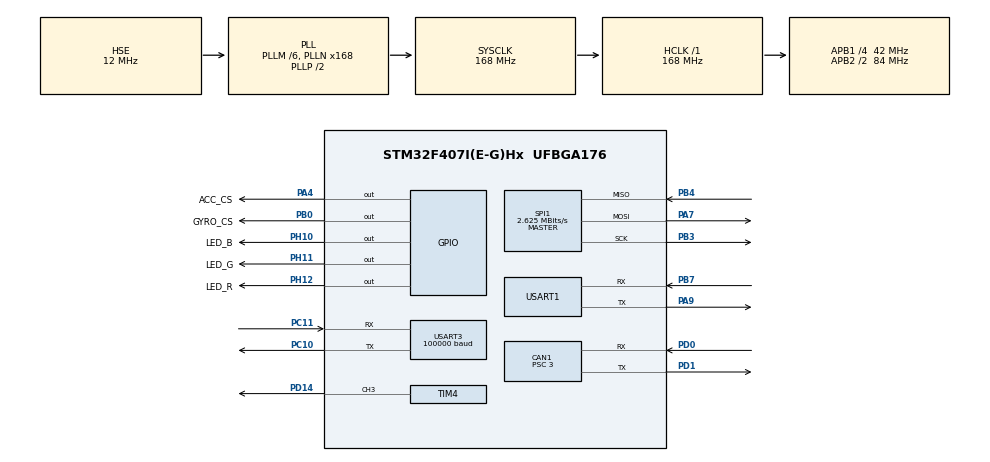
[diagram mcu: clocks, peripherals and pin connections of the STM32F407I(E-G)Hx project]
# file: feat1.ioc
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CAN1.ABOM=ENABLE
CAN1.BS1=CAN_BS1_11TQ
CAN1.BS2=CAN_BS2_2TQ
CAN1.CalculateBaudRate=1000000
CAN1.CalculateTimeBit=1000
CAN1.CalculateTimeQuantum=71.42857142857143
CAN1.Prescaler=3
Dma.Request0=USART3_RX
Dma.USART3_RX.0.Direction=DMA_PERIPH_TO_MEMORY
Dma.USART3_RX.0.FIFOMode=DMA_FIFOMODE_DISABLE
Dma.USART3_RX.0.Instance=DMA1_Stream1
Dma.USART3_RX.0.MemDataAlignment=DMA_MDATAALIGN_BYTE
Dma.USART3_RX.0.MemInc=DMA_MINC_ENABLE
Dma.USART3_RX.0.Mode=DMA_NORMAL
Dma.USART3_RX.0.PeriphDataAlignment=DMA_PDATAALIGN_BYTE
Dma.USART3_RX.0.PeriphInc=DMA_PINC_DISABLE
Dma.USART3_RX.0.Priority=DMA_PRIORITY_LOW
Mcu.Family=STM32F4
Mcu.Name=STM32F407I(E-G)Hx
Mcu.Package=UFBGA176
NVIC.CAN1_RX0_IRQn=true\:0\:0\:false\:false\:true\:true\:true\:true
NVIC.DMA1_Stream1_IRQn=true\:0\:0\:false\:false\:true\:false\:true\:true
NVIC.PriorityGroup=NVIC_PRIORITYGROUP_4
NVIC.USART1_IRQn=true\:0\:0\:false\:false\:true\:true\:true\:true
NVIC.USART3_IRQn=true\:0\:0\:false\:false\:true\:true\:true\:true
PA13.Mode=Serial_Wire
PA13.Signal=SYS_JTMS-SWDIO
PA14.Mode=Serial_Wire
PA14.Signal=SYS_JTCK-SWCLK
PA4.GPIO_Label=ACC_CS
PA4.PinState=GPIO_PIN_SET
PA4.Signal=GPIO_Output
PA7.Mode=Full_Duplex_Master
PA7.Signal=SPI1_MOSI
PA9.Mode=Asynchronous
PA9.Signal=USART1_TX
PB0.GPIO_Label=GYRO_CS
PB0.PinState=GPIO_PIN_SET
PB0.Signal=GPIO_Output
PB3.Mode=Full_Duplex_Master
PB3.Signal=SPI1_SCK
PB4.Mode=Full_Duplex_Master
PB4.Signal=SPI1_MISO
PB7.Mode=Asynchronous
PB7.Signal=USART1_RX
PC10.Mode=Asynchronous
PC10.Signal=USART3_TX
PC11.Mode=Asynchronous
PC11.Signal=USART3_RX
PD0.Mode=CAN_Activate
PD0.Signal=CAN1_RX
PD1.Mode=CAN_Activate
PD1.Signal=CAN1_TX
PD14.Signal=S_TIM4_CH3
PH0-OSC_IN.Mode=HSE-External-Oscillator
PH0-OSC_IN.Signal=RCC_OSC_IN
PH1-OSC_OUT.Mode=HSE-External-Oscillator
PH1-OSC_OUT.Signal=RCC_OSC_OUT
PH10.GPIO_Label=LED_B
PH10.Signal=GPIO_Output
PH11.GPIO_Label=LED_G
PH11.Signal=GPIO_Output
PH12.GPIO_Label=LED_R
PH12.Signal=GPIO_Output
ProjectManager.HeapSize=0x200
ProjectManager.StackSize=0x400
ProjectManager.TargetToolchain=CMake
RCC.48MHZClocksFreq_Value=84000000
RCC.AHBFreq_Value=168000000
RCC.APB1CLKDivider=RCC_HCLK_DIV4
RCC.APB1Freq_Value=42000000
RCC.APB1TimFreq_Value=84000000
RCC.APB2CLKDivider=RCC_HCLK_DIV2
RCC.APB2Freq_Value=84000000
RCC.APB2TimFreq_Value=168000000
RCC.CortexFreq_Value=168000000
RCC.HCLKFreq_Value=168000000
RCC.HSE_VALUE=12000000
RCC.HSI_VALUE=16000000
RCC.LSE_VALUE=32768
RCC.PLLM=6
RCC.PLLN=168
RCC.PLLSourceVirtual=RCC_PLLSOURCE_HSE
RCC.SYSCLKFreq_VALUE=168000000
RCC.SYSCLKSource=RCC_SYSCLKSOURCE_PLLCLK
RCC.VCOOutputFreq_Value=336000000
SH.S_TIM4_CH3.0=TIM4_CH3,PWM Generation3 CH3
SPI1.BaudRatePrescaler=SPI_BAUDRATEPRESCALER_32
SPI1.CLKPhase=SPI_PHASE_2EDGE
SPI1.CLKPolarity=SPI_POLARITY_HIGH
SPI1.CalculateBaudRate=2.625 MBits/s
SPI1.Direction=SPI_DIRECTION_2LINES
SPI1.Mode=SPI_MODE_MASTER
SPI1.VirtualType=VM_MASTER
TIM4.Channel-PWM\ Generation3\ CH3=TIM_CHANNEL_3
TIM4.Period=499
TIM4.Prescaler=83
USART1.VirtualMode=VM_ASYNC
USART3.BaudRate=100000
USART3.Mode=MODE_RX
USART3.Parity=PARITY_EVEN
USART3.VirtualMode=VM_ASYNC
USART3.WordLength=WORDLENGTH_9B
VP_TIM4_VS_ClockSourceINT.Mode=Internal
board=custom

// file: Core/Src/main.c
/* USER CODE BEGIN Header */
/**
  ******************************************************************************
  * @file           : main.c
  * @brief          : Main program body
  ******************************************************************************
  * @attention
  *
  * Copyright (c) 2026 STMicroelectronics.
  * All rights reserved.
  *
  * This software is licensed under terms that can be found in the LICENSE file
  * in the root directory of this software component.
  * If no LICENSE file comes with this software, it is provided AS-IS.
  *
  ******************************************************************************
  */
/* USER CODE END Header */
#include "main.h"
#include "can.h"
#include "dma.h"
#include "spi.h"
#include "tim.h"
#include "usart.h"
#include "gpio.h"

/* USER CODE BEGIN Includes */
#include <stdio.h>
#include <math.h>
/* USER CODE END Includes */

/* USER CODE BEGIN PD */
#define MOTOR_A_ID                 1U
#define MOTOR_B_ID                 2U

#define MOTOR_MODE_UNKNOWN         0U
#define MOTOR_MODE_VOLTAGE         1U
#define MOTOR_MODE_CURRENT         2U

// 现场确认后，再选择 VOLTAGE 或 CURRENT
#define MOTOR_CONTROL_MODE         MOTOR_MODE_UNKNOWN

#if (MOTOR_A_ID < 1U) || (MOTOR_A_ID > 7U)
#error "MOTOR_A_ID must be 1..7"
#endif

#if (MOTOR_B_ID < 1U) || (MOTOR_B_ID > 7U)
#error "MOTOR_B_ID must be 1..7"
#endif

#if MOTOR_A_ID == MOTOR_B_ID
#error "Motor A and B must have different IDs"
#endif
#define CONTROL_MODE_DISABLED      0U
#define CONTROL_MODE_LINK          1U
#define CONTROL_MODE_RESET         2U

// 0：未确认；1：右拨杆对应 rc_s1；2：对应 rc_s2
#define RC_RIGHT_SWITCH_SOURCE     0U

#if RC_RIGHT_SWITCH_SOURCE > 2U
#error "RC_RIGHT_SWITCH_SOURCE must be 0, 1 or 2"
#endif
// 待现场确认电机模式后，再逐步调试这些参数
#define MOTOR_ANGLE_KP       0.0f
#define MOTOR_SPEED_KP       0.0f
#define MOTOR_MAX_RPM        0.0f
#define MOTOR_MAX_COMMAND    0.0f
// 现场能够保证每次启动时三个箭头对齐后，才改为 1
#define MOTOR_STARTUP_ARROWS_ALIGNED    0U
/* USER CODE END PD */

/* USER CODE BEGIN PV */
// 发送期间保持内容不变
static char uart_tx_buf[768];
// DMA 将接收到的遥控器原始数据存放在这里
static uint8_t rc_rx_buf[64];

// 用于观察接收情况
static volatile uint16_t rc_rx_size = 0;
static volatile uint32_t rc_rx_count = 0;
// 四个摇杆通道，回中时接近 0
static volatile int16_t rc_ch[4] = {0};

// 两个拨杆的位置
static volatile uint8_t rc_s1 = 0;
static volatile uint8_t rc_s2 = 0;

// 用于后续判断是否持续收到有效数据
static volatile uint32_t rc_last_tick = 0;
static volatile uint8_t rc_received = 0;
// 接收出错时，由主循环负责恢复
static volatile uint8_t rc_need_restart = 0;
static uint8_t imu_ready = 0;
// 加速度，单位 m/s²
static float imu_ax = 0;
static float imu_ay = 0;
static float imu_az = 0;

// 角速度，单位 °/s
static float imu_gx = 0;
static float imu_gy = 0;
static float imu_gz = 0;
typedef struct
{
    uint16_t encoder;
    int32_t total_encoder;  // 相对首次反馈位置的累计计数
    uint8_t angle_valid;    // 连续角度是否有效       // 单圈编码器值：0～8191
    int16_t speed_rpm;      // 转速：转/分钟，有正负
    uint8_t temperature;    // 温度：℃
    uint8_t received;       // 是否曾收到有效反馈
    uint32_t last_rx_tick;  // 最近一次接收时间
    uint32_t rx_count;      // 累计接收帧数
} MotorFeedback;

// 下标直接对应电机 ID，motor_fb[0] 不使用
static volatile MotorFeedback motor_fb[8] = {0};
// 陀螺仪零偏，单位 °/s
static float gyro_bias_x = 0.0f;
static float gyro_bias_y = 0.0f;
static float gyro_bias_z = 0.0f;

// 连续采集 200 个静止样本
static uint16_t imu_cal_count = 0;
static uint8_t imu_cal_ready = 0;
static float imu_yaw_deg = 0.0f;       // 连续 yaw，单位度
static uint8_t imu_attitude_ready = 0;
static uint8_t imu_attitude_fault = 0;
// 遥控器请求的工作模式
static uint8_t control_requested_mode = CONTROL_MODE_DISABLED;

// B 相对于 A/C 板的联动比例
static float motor_b_ratio = 0.5f;

// 是否具备进入电机控制的基本条件
static uint8_t motor_control_allowed = 0U;
// 0：正常联动；1：手动转 A；2：手动转 B
static uint8_t manual_leader = 0U;
static uint8_t manual_armed = 0U;
static uint8_t manual_candidate = 0U;

static uint16_t manual_settle_count = 0U;
static uint16_t manual_candidate_count = 0U;
static uint16_t manual_release_count = 0U;

static uint8_t arrow_reference_ready = 0U;

// 箭头对齐时，电机连续角度与 IMU yaw 的差值
static float arrow_offset_a = 0.0f;
static float arrow_offset_b = 0.0f;
// 记录上一批电机报文使用的发送邮箱
static uint32_t motor_tx_mailboxes = 0U;

// 发送故障锁定，复位 C 板后清除
static uint8_t motor_tx_fault = 0U;
/* USER CODE END PV */

void SystemClock_Config(void);

/* USER CODE BEGIN 0 */
static void LED_Show(uint8_t index)
{
    // 先关闭全部 LED
    HAL_GPIO_WritePin(LED_R_GPIO_Port, LED_R_Pin, GPIO_PIN_SET);
    HAL_GPIO_WritePin(LED_G_GPIO_Port, LED_G_Pin, GPIO_PIN_SET);
    HAL_GPIO_WritePin(LED_B_GPIO_Port, LED_B_Pin, GPIO_PIN_SET);

    // 再点亮指定的 LED
    switch (index)
    {
        case 0:
            HAL_GPIO_WritePin(LED_R_GPIO_Port, LED_R_Pin,
                              GPIO_PIN_RESET);
            break;

        case 1:
            HAL_GPIO_WritePin(LED_G_GPIO_Port, LED_G_Pin,
                              GPIO_PIN_RESET);
            break;

        case 2:
            HAL_GPIO_WritePin(LED_B_GPIO_Port, LED_B_Pin,
                              GPIO_PIN_RESET);
            break;

        default:
            break;
    }
}
// is_acc：1 表示加速度计，0 表示陀螺仪
static HAL_StatusTypeDef BMI088_WriteReg(
    uint8_t is_acc, uint8_t reg, uint8_t value)
{
    uint8_t tx[2] = {reg & 0x7FU, value};

    GPIO_TypeDef *port = is_acc ? ACC_CS_GPIO_Port
                               : GYRO_CS_GPIO_Port;
    uint16_t pin = is_acc ? ACC_CS_Pin : GYRO_CS_Pin;

    HAL_GPIO_WritePin(port, pin, GPIO_PIN_RESET);

    HAL_StatusTypeDef status =
        HAL_SPI_Transmit(&hspi1, tx, sizeof(tx), 10);

    HAL_GPIO_WritePin(port, pin, GPIO_PIN_SET);

    // 留出寄存器写入间隔，仅在初始化时使用
    HAL_Delay(2);

    return status;
}
static HAL_StatusTypeDef BMI088_Init(void)
{
    // 两个传感器先都不选中
    HAL_GPIO_WritePin(ACC_CS_GPIO_Port, ACC_CS_Pin, GPIO_PIN_SET);
    HAL_GPIO_WritePin(GYRO_CS_GPIO_Port, GYRO_CS_Pin, GPIO_PIN_SET);

    HAL_Delay(50);

    // 首次空读：使加速度计进入 SPI 模式，不检查芯片 ID
    uint8_t tx[3] = {0x80, 0x00, 0x00};
    uint8_t rx[3];

    HAL_GPIO_WritePin(ACC_CS_GPIO_Port, ACC_CS_Pin, GPIO_PIN_RESET);

    HAL_StatusTypeDef status =
        HAL_SPI_TransmitReceive(&hspi1, tx, rx, sizeof(tx), 10);

    HAL_GPIO_WritePin(ACC_CS_GPIO_Port, ACC_CS_Pin, GPIO_PIN_SET);

    if (status != HAL_OK)
    {
        return status;
    }

    HAL_Delay(2);

    // 加速度计：退出挂起状态
    if (BMI088_WriteReg(1, 0x7C, 0x00) != HAL_OK)
        return HAL_ERROR;

    HAL_Delay(5);

    // 开启加速度测量
    if (BMI088_WriteReg(1, 0x7D, 0x04) != HAL_OK)
        return HAL_ERROR;

    HAL_Delay(5);

    // 加速度计：100 Hz 输出数据率
    if (BMI088_WriteReg(1, 0x40, 0xA8) != HAL_OK)
        return HAL_ERROR;

    // 加速度计量程：±6 g
    if (BMI088_WriteReg(1, 0x41, 0x01) != HAL_OK)
        return HAL_ERROR;

    // 陀螺仪：正常工作模式
    if (BMI088_WriteReg(0, 0x11, 0x00) != HAL_OK)
        return HAL_ERROR;

    HAL_Delay(30);

    // 陀螺仪量程：±2000 °/s
    if (BMI088_WriteReg(0, 0x0F, 0x00) != HAL_OK)
        return HAL_ERROR;

    // 陀螺仪：100 Hz 输出数据率，32 Hz 带宽
    if (BMI088_WriteReg(0, 0x10, 0x07) != HAL_OK)
        return HAL_ERROR;

    HAL_Delay(30);

    return HAL_OK;
}
static HAL_StatusTypeDef BMI088_ReadRaw(
    uint8_t is_acc, int16_t raw[3])
{
    // 加速度数据从 0x12 开始，陀螺仪数据从 0x02 开始
    uint8_t tx[8] = {0};
    uint8_t rx[8] = {0};

    tx[0] = (is_acc ? 0x12U : 0x02U) | 0x80U;

    // 加速度计比陀螺仪多一个无效字节，需要跳过
    uint16_t length = is_acc ? 8U : 7U;
    uint8_t offset = is_acc ? 2U : 1U;

    GPIO_TypeDef *port = is_acc ? ACC_CS_GPIO_Port
                               : GYRO_CS_GPIO_Port;
    uint16_t pin = is_acc ? ACC_CS_Pin : GYRO_CS_Pin;

    HAL_GPIO_WritePin(port, pin, GPIO_PIN_RESET);

    HAL_StatusTypeDef status =
        HAL_SPI_TransmitReceive(&hspi1, tx, rx, length, 10);

    HAL_GPIO_WritePin(port, pin, GPIO_PIN_SET);

    if (status != HAL_OK)
    {
        return status;
    }

    for (uint8_t i = 0; i < 3U; i++)
    {
        uint8_t pos = offset + 2U * i;

        // 每个轴由低字节、高字节组成一个有符号 16 位数
        uint16_t value = (uint16_t)rx[pos] |
                         ((uint16_t)rx[pos + 1U] << 8);

        raw[i] = (int16_t)value;
    }

    return HAL_OK;
}
static HAL_StatusTypeDef BMI088_ReadData(void)
{
    int16_t acc_raw[3];
    int16_t gyro_raw[3];

    if (BMI088_ReadRaw(1, acc_raw) != HAL_OK)
    {
        return HAL_ERROR;
    }

    if (BMI088_ReadRaw(0, gyro_raw) != HAL_OK)
    {
        return HAL_ERROR;
    }

    // 对应初始化设置的加速度量程 ±6 g
    const float acc_scale = 6.0f * 9.80665f / 32768.0f;

    // 对应初始化设置的陀螺仪量程 ±2000 °/s
    const float gyro_scale = 2000.0f / 32768.0f;

    // 两组读取都成功后才更新结果
    imu_ax = acc_raw[0] * acc_scale;
    imu_ay = acc_raw[1] * acc_scale;
    imu_az = acc_raw[2] * acc_scale;

    imu_gx = gyro_raw[0] * gyro_scale;
    imu_gy = gyro_raw[1] * gyro_scale;
    imu_gz = gyro_raw[2] * gyro_scale;

    return HAL_OK;
}
static void IMU_UpdateGyroCalibration(uint8_t sample_ok)
{
    static float sum_x = 0.0f;
    static float sum_y = 0.0f;
    static float sum_z = 0.0f;

    // 完成后不再自动重新校准
    if (imu_cal_ready)
    {
        return;
    }

    float acc_sq = imu_ax * imu_ax +
                   imu_ay * imu_ay +
                   imu_az * imu_az;

    // 初步静止检查：
    // 加速度合量接近重力，三个轴角速度都较小
    uint8_t stationary =
        sample_ok &&
        acc_sq > (8.8f * 8.8f) &&
        acc_sq < (10.8f * 10.8f) &&
        imu_gx > -3.0f && imu_gx < 3.0f &&
        imu_gy > -3.0f && imu_gy < 3.0f &&
        imu_gz > -3.0f && imu_gz < 3.0f;

    // 读取失败或检测到明显运动，重新累计
    if (!stationary)
    {
        sum_x = 0.0f;
        sum_y = 0.0f;
        sum_z = 0.0f;
        imu_cal_count = 0;
        return;
    }

    sum_x += imu_gx;
    sum_y += imu_gy;
    sum_z += imu_gz;
    imu_cal_count++;

    if (imu_cal_count >= 200U)
    {
        gyro_bias_x = sum_x / (float)imu_cal_count;
        gyro_bias_y = sum_y / (float)imu_cal_count;
        gyro_bias_z = sum_z / (float)imu_cal_count;

        imu_cal_ready = 1U;
    }
}
static void IMU_UpdateAttitude(uint8_t sample_ok, float dt)
{
    // 四元数：描述 C 板相对于参考坐标系的姿态
    static float q0 = 1.0f;
    static float q1 = 0.0f;
    static float q2 = 0.0f;
    static float q3 = 0.0f;
    static float last_yaw = 0.0f;

    const float deg_to_rad = 0.01745329252f;
    const float rad_to_deg = 57.29577951f;

    if (!imu_cal_ready || imu_attitude_fault)
    {
        return;
    }

    // 丢失较长时间的数据后，不继续输出看似有效的角度
    if (!sample_ok || dt <= 0.0f || dt > 0.05f)
    {
        imu_attitude_ready = 0U;
        imu_attitude_fault = 1U;
        return;
    }

    float ax = imu_ax;
    float ay = imu_ay;
    float az = imu_az;
    float acc_sq = ax * ax + ay * ay + az * az;

    if (!imu_attitude_ready)
    {
        // 用静止时的重力方向初始化倾斜姿态
        // 接近俯仰 ±90° 时，yaw 方向不适合作为联动输入
        if (acc_sq < 1.0f ||
            (ay * ay + az * az) / acc_sq < 0.01f)
        {
            imu_attitude_fault = 1U;
            return;
        }

        float roll = atan2f(ay, az);
        float pitch = atan2f(-ax, sqrtf(ay * ay + az * az));

        float cr = cosf(roll * 0.5f);
        float sr = sinf(roll * 0.5f);
        float cp = cosf(pitch * 0.5f);
        float sp = sinf(pitch * 0.5f);

        // 初始 yaw 定义为 0
        q0 = cr * cp;
        q1 = sr * cp;
        q2 = cr * sp;
        q3 = -sr * sp;

        last_yaw = atan2f(
            2.0f * (q0 * q3 + q1 * q2),
            1.0f - 2.0f * (q2 * q2 + q3 * q3)) * rad_to_deg;

        imu_yaw_deg = 0.0f;
        imu_attitude_ready = 1U;
        return;
    }

    // 减去零偏，并将 °/s 转换为 rad/s
    float gx = (imu_gx - gyro_bias_x) * deg_to_rad;
    float gy = (imu_gy - gyro_bias_y) * deg_to_rad;
    float gz = (imu_gz - gyro_bias_z) * deg_to_rad;

    // 加速度合量接近重力时，才进行倾斜修正
    if (acc_sq > 8.8f * 8.8f &&
        acc_sq < 10.8f * 10.8f)
    {
        float inv_acc = 1.0f / sqrtf(acc_sq);
        ax *= inv_acc;
        ay *= inv_acc;
        az *= inv_acc;

        // 当前姿态预测的重力方向
        float vx = 2.0f * (q1 * q3 - q0 * q2);
        float vy = 2.0f * (q0 * q1 + q2 * q3);
        float vz = q0 * q0 - q1 * q1 -
                   q2 * q2 + q3 * q3;

        // 测量方向与预测方向的叉积误差
        float ex = ay * vz - az * vy;
        float ey = az * vx - ax * vz;
        float ez = ax * vy - ay * vx;

        const float kp = 2.0f;
        gx += kp * ex;
        gy += kp * ey;
        gz += kp * ez;
    }

    // 必须先保存旧值，再同时更新四个分量
    float a = q0;
    float b = q1;
    float c = q2;
    float d = q3;
    float half_dt = 0.5f * dt;

    q0 += (-b * gx - c * gy - d * gz) * half_dt;
    q1 += ( a * gx + c * gz - d * gy) * half_dt;
    q2 += ( a * gy - b * gz + d * gx) * half_dt;
    q3 += ( a * gz + b * gy - c * gx) * half_dt;

    float norm_sq = q0 * q0 + q1 * q1 +
                    q2 * q2 + q3 * q3;

    if (!isfinite(norm_sq) || norm_sq < 0.000001f)
    {
        imu_attitude_ready = 0U;
        imu_attitude_fault = 1U;
        return;
    }

    float inv_norm = 1.0f / sqrtf(norm_sq);
    q0 *= inv_norm;
    q1 *= inv_norm;
    q2 *= inv_norm;
    q3 *= inv_norm;

    float heading_x =
        1.0f - 2.0f * (q2 * q2 + q3 * q3);
    float heading_y =
        2.0f * (q0 * q3 + q1 * q2);

    if (heading_x * heading_x +
        heading_y * heading_y < 0.01f)
    {
        imu_attitude_ready = 0U;
        imu_attitude_fault = 1U;
        return;
    }

    float yaw = atan2f(heading_y, heading_x) * rad_to_deg;
    float delta = yaw - last_yaw;

    // 处理 +180° 与 -180° 之间的跳变，累计连续角度
    if (delta > 180.0f)
    {
        delta -= 360.0f;
    }
    else if (delta < -180.0f)
    {
        delta += 360.0f;
    }

    imu_yaw_deg += delta;
    last_yaw = yaw;
}
// 把数值限制在 -limit～+limit
static float Motor_Clamp(float value, float limit)
{
    if (value > limit)
    {
        return limit;
    }

    if (value < -limit)
    {
        return -limit;
    }

    return value;
}

// 位置外环 + 速度内环，当前先使用比例控制
static int16_t Motor_PositionControl(
    float target_deg,
    float actual_deg,
    float actual_rpm,
    float angle_kp,
    float speed_kp,
    float max_rpm,
    float max_command)
{
    // 参数未设置或数据异常时，不产生驱动给定
    if (!isfinite(target_deg) ||
        !isfinite(actual_deg) ||
        !isfinite(actual_rpm) ||
        !isfinite(angle_kp) ||
        !isfinite(speed_kp) ||
        !isfinite(max_rpm) ||
        !isfinite(max_command) ||
        angle_kp <= 0.0f ||
        speed_kp <= 0.0f ||
        max_rpm <= 0.0f ||
        max_command <= 0.0f ||
        max_command > 25000.0f)
    {
        return 0;
    }

    // 外环：角度误差转换成目标转速
    float angle_error = target_deg - actual_deg;

    float target_rpm =
        Motor_Clamp(angle_kp * angle_error, max_rpm);

    // 内环：转速误差转换成控制给定值
    float speed_error = target_rpm - actual_rpm;

    float command =
        Motor_Clamp(speed_kp * speed_error, max_command);

    return (int16_t)command;
}
static HAL_StatusTypeDef Motor_SendCommandsRaw(
    int16_t command_a, int16_t command_b)
{
    uint32_t group_id[2];
    int32_t limit;

    // 未确认模式时，不发送控制报文
    if (MOTOR_CONTROL_MODE == MOTOR_MODE_VOLTAGE)
    {
        group_id[0] = 0x1FFU;  // ID 1～4
        group_id[1] = 0x2FFU;  // ID 5～7
        limit = 25000;
    }
    else if (MOTOR_CONTROL_MODE == MOTOR_MODE_CURRENT)
    {
        group_id[0] = 0x1FEU;
        group_id[1] = 0x2FEU;
        limit = 16384;
    }
    else
    {
        return HAL_ERROR;
    }

    uint8_t data[2][8] = {{0}};
    uint8_t group_used[2] = {0};
    const uint8_t ids[2] = {MOTOR_A_ID, MOTOR_B_ID};
    int32_t commands[2] = {command_a, command_b};

    for (uint8_t i = 0; i < 2U; i++)
    {
        // 限制在协议允许的范围内
        if (commands[i] > limit)
        {
            commands[i] = limit;
        }
        else if (commands[i] < -limit)
        {
            commands[i] = -limit;
        }

        uint8_t group = (uint8_t)((ids[i] - 1U) / 4U);
        uint8_t slot = (uint8_t)((ids[i] - 1U) % 4U);
        uint8_t offset = (uint8_t)(slot * 2U);

        uint16_t value = (uint16_t)(int16_t)commands[i];

        data[group][offset] = (uint8_t)(value >> 8);
        data[group][offset + 1U] = (uint8_t)value;
        group_used[group] = 1U;
    }

    uint32_t needed =
        (uint32_t)group_used[0] + (uint32_t)group_used[1];

    if (HAL_CAN_GetTxMailboxesFreeLevel(&hcan1) < needed)
    {
        return HAL_BUSY;
    }

    CAN_TxHeaderTypeDef header = {0};
    header.IDE = CAN_ID_STD;
    header.RTR = CAN_RTR_DATA;
    header.DLC = 8U;
    header.TransmitGlobalTime = DISABLE;

    for (uint8_t group = 0; group < 2U; group++)
    {
        if (!group_used[group])
        {
            continue;
        }

        header.StdId = group_id[group];
        uint32_t mailbox;

        HAL_StatusTypeDef status = HAL_CAN_AddTxMessage(
            &hcan1, &header, data[group], &mailbox);

        if (status != HAL_OK)
        {
            return status;
        }
        motor_tx_mailboxes |= mailbox;
    }

    return HAL_OK;
}
static HAL_StatusTypeDef Motor_SendCommands(
    int16_t command_a, int16_t command_b)
{
    // 模式未确认，不发送，也不因此记录发送故障
    if (MOTOR_CONTROL_MODE != MOTOR_MODE_VOLTAGE &&
        MOTOR_CONTROL_MODE != MOTOR_MODE_CURRENT)
    {
        return HAL_ERROR;
    }

    // 检查上一批发送
    if (motor_tx_mailboxes != 0U)
    {
        if (HAL_CAN_IsTxMessagePending(&hcan1, motor_tx_mailboxes))
        {
            // 到下一个控制周期仍未完成：
            // 锁定故障并请求撤销旧报文
            motor_tx_fault = 1U;
            (void)HAL_CAN_AbortTxRequest(&hcan1, motor_tx_mailboxes);

            // 撤销不是瞬间完成，下一周期继续检查
            return HAL_BUSY;
        }

        const uint32_t ok_flags[3] = {
            CAN_FLAG_TXOK0, CAN_FLAG_TXOK1, CAN_FLAG_TXOK2
        };

        const uint32_t complete_flags[3] = {
            CAN_FLAG_RQCP0, CAN_FLAG_RQCP1, CAN_FLAG_RQCP2
        };

        for (uint8_t i = 0; i < 3U; i++)
        {
            if ((motor_tx_mailboxes & (1UL << i)) != 0U)
            {
                // 不再等待发送，不代表一定发送成功
                if (!__HAL_CAN_GET_FLAG(&hcan1, ok_flags[i]))
                {
                    motor_tx_fault = 1U;
                }

                __HAL_CAN_CLEAR_FLAG(&hcan1, complete_flags[i]);
            }
        }

        motor_tx_mailboxes = 0U;
    }

    // 一旦发生故障，之后只尝试发送零给定
    if (motor_tx_fault)
    {
        command_a = 0;
        command_b = 0;
    }

    HAL_StatusTypeDef status =
        Motor_SendCommandsRaw(command_a, command_b);

    if (status != HAL_OK)
    {
        motor_tx_fault = 1U;

        // 若只成功加入了部分报文，也撤销这些发送
        if (motor_tx_mailboxes != 0U)
        {
            (void)HAL_CAN_AbortTxRequest(
                &hcan1, motor_tx_mailboxes);
        }
    }

    return status;
}
static void Control_UpdateRequest(void)
{
    uint8_t s1, s2, received;
    uint32_t rc_tick;
    MotorFeedback motor_a;
    MotorFeedback motor_b;

    // 一次性复制中断更新的数据
    uint32_t saved_irq = __get_PRIMASK();
    __disable_irq();

    s1 = rc_s1;
    s2 = rc_s2;
    received = rc_received;
    rc_tick = rc_last_tick;
    motor_a = motor_fb[MOTOR_A_ID];
    motor_b = motor_fb[MOTOR_B_ID];

    __set_PRIMASK(saved_irq);

    uint32_t now = HAL_GetTick();

    // 默认失能，只有通过检查后才允许控制
    control_requested_mode = CONTROL_MODE_DISABLED;
    motor_control_allowed = 0U;

    if (!received || (uint32_t)(now - rc_tick) >= 100U)
    {
        return;
    }

    uint8_t right_switch;
    uint8_t left_switch;

    if (RC_RIGHT_SWITCH_SOURCE == 1U)
    {
        right_switch = s1;
        left_switch = s2;
    }
    else if (RC_RIGHT_SWITCH_SOURCE == 2U)
    {
        right_switch = s2;
        left_switch = s1;
    }
    else
    {
        // 尚未确认左右拨杆对应关系
        return;
    }

    switch (left_switch)
    {
        case 2U: motor_b_ratio = 0.5f;  break; // 下
        case 3U: motor_b_ratio = -1.0f; break; // 中
        case 1U: motor_b_ratio = 3.0f;  break; // 上
        default: return;
    }

    switch (right_switch)
    {
        case 2U:
            return; // 下档：保持失能

        case 3U:
            control_requested_mode = CONTROL_MODE_LINK;
            break;

        case 1U:
            control_requested_mode = CONTROL_MODE_RESET;
            break;

        default:
            return;
    }

    // 控制模式必须已经确认
    if (MOTOR_CONTROL_MODE != MOTOR_MODE_VOLTAGE &&
        MOTOR_CONTROL_MODE != MOTOR_MODE_CURRENT)
    {
        return;
    }

    // 姿态必须有效
    if (!imu_attitude_ready || imu_attitude_fault)
    {
        return;
    }

    // 两台电机的反馈和连续角度都必须有效
    if (!motor_a.received || !motor_b.received ||
        !motor_a.angle_valid || !motor_b.angle_valid ||
        (uint32_t)(now - motor_a.last_rx_tick) >= 50U ||
        (uint32_t)(now - motor_b.last_rx_tick) >= 50U)
    {
        return;
    }
    if (motor_tx_fault)
{
    return;
}
    motor_control_allowed = 1U;
}
// leader：1 表示手动转 A，2 表示手动转 B
// 只更新联动参考，不修改 IMU 测得的 yaw
static void Link_UpdateReference(
    uint8_t leader,
    float yaw,
    float actual_a,
    float actual_b,
    float reference_a,
    float reference_b,
    float ratio,
    float *reference_yaw)
{
    if (reference_yaw == NULL ||
        !isfinite(ratio) ||
        fabsf(ratio) < 0.001f)
    {
        return;
    }

    float yaw_change = yaw - *reference_yaw;
    float phase_change;

    if (leader == 1U)
    {
        float target_a = reference_a + yaw_change;
        phase_change = actual_a - target_a;
    }
    else if (leader == 2U)
    {
        float target_b = reference_b + ratio * yaw_change;
        phase_change = (actual_b - target_b) / ratio;
    }
    else
    {
        return;
    }

    if (isfinite(phase_change))
    {
        *reference_yaw -= phase_change;
    }
}
static void Link_ManualReset(void)
{
    manual_leader = 0U;
    manual_armed = 0U;
    manual_candidate = 0U;
    manual_settle_count = 0U;
    manual_candidate_count = 0U;
    manual_release_count = 0U;
}

static uint8_t Link_ManualStep(
    float actual_a,
    float actual_b,
    float rpm_a,
    float rpm_b,
    float reference_a,
    float reference_b,
    float ratio,
    float *reference_yaw)
{
    // 初始调试阈值，后续需要实物验证和调整
    const float settled_deg = 1.0f;
    const float takeover_deg = 3.0f;
    const float stopped_rpm = 1.0f;

    uint8_t board_still =
        fabsf(imu_gx - gyro_bias_x) < 1.0f &&
        fabsf(imu_gy - gyro_bias_y) < 1.0f &&
        fabsf(imu_gz - gyro_bias_z) < 1.0f;

    // C 板转动时，回到 C 板作为输入的联动
    if (!board_still)
    {
        Link_ManualReset();
        return 0U;
    }

    float yaw_change = imu_yaw_deg - *reference_yaw;
    float target_a = reference_a + yaw_change;
    float target_b = reference_b + ratio * yaw_change;

    float error_a = actual_a - target_a;
    float error_b = actual_b - target_b;

    // 已进入手动接管
    if (manual_leader != 0U)
    {
        Link_UpdateReference(
            manual_leader, imu_yaw_deg,
            actual_a, actual_b,
            reference_a, reference_b,
            ratio, reference_yaw);

        // 更新参考后，重新计算另一台电机的目标
        yaw_change = imu_yaw_deg - *reference_yaw;
        target_a = reference_a + yaw_change;
        target_b = reference_b + ratio * yaw_change;

        uint8_t follower_arrived =
            (manual_leader == 1U) ?
            (fabsf(actual_b - target_b) < settled_deg) :
            (fabsf(actual_a - target_a) < settled_deg);

        uint8_t both_stopped =
            fabsf(rpm_a) < stopped_rpm &&
            fabsf(rpm_b) < stopped_rpm;

        if (both_stopped && follower_arrived)
        {
            manual_release_count++;
        }
        else
        {
            manual_release_count = 0U;
        }

        // 约 300 ms 停稳后，保持更新后的目标位置
        if (manual_release_count >= 30U)
        {
            manual_leader = 0U;
            manual_candidate = 0U;
            manual_candidate_count = 0U;
            manual_release_count = 0U;
            manual_armed = 1U;
        }

        return manual_leader;
    }

    // 正常跟随完成后，才允许判断手动输入
    if (!manual_armed)
    {
        if (fabsf(error_a) < settled_deg &&
            fabsf(error_b) < settled_deg &&
            fabsf(rpm_a) < stopped_rpm &&
            fabsf(rpm_b) < stopped_rpm)
        {
            manual_settle_count++;
        }
        else
        {
            manual_settle_count = 0U;
        }

        if (manual_settle_count >= 25U)
        {
            manual_armed = 1U;
        }

        return 0U;
    }

    // 只有一台明显偏离、另一台仍在目标附近时，才建立候选
    uint8_t candidate = 0U;

    if (fabsf(error_a) > takeover_deg &&
        fabsf(error_b) < settled_deg)
    {
        candidate = 1U;
    }
    else if (fabsf(error_b) > takeover_deg &&
             fabsf(error_a) < settled_deg)
    {
        candidate = 2U;
    }

    if (candidate == 0U)
    {
        manual_candidate = 0U;
        manual_candidate_count = 0U;
        return 0U;
    }

    if (candidate != manual_candidate)
    {
        manual_candidate = candidate;
        manual_candidate_count = 1U;
    }
    else
    {
        manual_candidate_count++;
    }

    // 持续约 100 ms 后进入手动接管
    if (manual_candidate_count >= 10U)
    {
        manual_leader = candidate;
        manual_release_count = 0U;

        Link_UpdateReference(
            manual_leader, imu_yaw_deg,
            actual_a, actual_b,
            reference_a, reference_b,
            ratio, reference_yaw);
    }

    return manual_leader;
}
// 每次启动只记录一次箭头对齐参考
static void Motor_CaptureArrowReference(void)
{
    if (!MOTOR_STARTUP_ARROWS_ALIGNED ||
        arrow_reference_ready ||
        !imu_attitude_ready ||
        imu_attitude_fault)
    {
        return;
    }

    MotorFeedback a;
    MotorFeedback b;

    uint32_t saved_irq = __get_PRIMASK();
    __disable_irq();
    a = motor_fb[MOTOR_A_ID];
    b = motor_fb[MOTOR_B_ID];
    __set_PRIMASK(saved_irq);

    uint32_t now = HAL_GetTick();

    if (!a.received || !b.received ||
        !a.angle_valid || !b.angle_valid ||
        (uint32_t)(now - a.last_rx_tick) >= 50U ||
        (uint32_t)(now - b.last_rx_tick) >= 50U)
    {
        return;
    }

    float angle_a =
        (float)a.total_encoder * (360.0f / 8192.0f);
    float angle_b =
        (float)b.total_encoder * (360.0f / 8192.0f);

    arrow_offset_a = angle_a - imu_yaw_deg;
    arrow_offset_b = angle_b - imu_yaw_deg;

    arrow_reference_ready = 1U;
}

// 返回 -180°～180° 范围内的等效角度差
static float Motor_Wrap180(float angle)
{
    float result = fmodf(angle + 180.0f, 360.0f);

    if (result < 0.0f)
    {
        result += 360.0f;
    }

    return result - 180.0f;
}
static void Motor_ControlTick(void)
{
    static uint8_t link_started = 0U;
    static float reference_yaw = 0.0f;
    static float reference_a = 0.0f;
    static float reference_b = 0.0f;
    static float previous_ratio = 0.0f;
    Motor_CaptureArrowReference();

    // 允许中档联动和上档复位，其余情况发送零给定
    // 其他模式、状态异常或参数未设置时，发送零给定
    if (!motor_control_allowed ||
    (control_requested_mode != CONTROL_MODE_LINK &&
     control_requested_mode != CONTROL_MODE_RESET) ||
        MOTOR_ANGLE_KP <= 0.0f ||
        MOTOR_SPEED_KP <= 0.0f ||
        MOTOR_MAX_RPM <= 0.0f ||
        MOTOR_MAX_COMMAND <= 0.0f)
    {
        link_started = 0U;
        (void)Motor_SendCommands(0, 0);
        return;
    }

    MotorFeedback motor_a;
    MotorFeedback motor_b;

    uint32_t saved_irq = __get_PRIMASK();
    __disable_irq();
    motor_a = motor_fb[MOTOR_A_ID];
    motor_b = motor_fb[MOTOR_B_ID];
    __set_PRIMASK(saved_irq);

    uint32_t now = HAL_GetTick();

    // 对本次使用的反馈再检查一次
    if (!motor_a.received || !motor_b.received ||
        !motor_a.angle_valid || !motor_b.angle_valid ||
        (uint32_t)(now - motor_a.last_rx_tick) >= 50U ||
        (uint32_t)(now - motor_b.last_rx_tick) >= 50U)
    {
        link_started = 0U;
        (void)Motor_SendCommands(0, 0);
        return;
    }

    float actual_a =
        (float)motor_a.total_encoder * (360.0f / 8192.0f);

    float actual_b =
        (float)motor_b.total_encoder * (360.0f / 8192.0f);
        if (control_requested_mode == CONTROL_MODE_RESET)
{
    // 退出中档联动状态，回到中档时重新建立联动参考
    link_started = 0U;
    Link_ManualReset();

    if (!arrow_reference_ready)
    {
        (void)Motor_SendCommands(0, 0);
        return;
    }

    // 箭头对齐只要求方向相同，选择距离最近的等效位置
    float target_a = actual_a + Motor_Wrap180(
        imu_yaw_deg + arrow_offset_a - actual_a);

    float target_b = actual_b + Motor_Wrap180(
        imu_yaw_deg + arrow_offset_b - actual_b);

    int16_t command_a = Motor_PositionControl(
        target_a,
        actual_a,
        (float)motor_a.speed_rpm,
        MOTOR_ANGLE_KP,
        MOTOR_SPEED_KP,
        MOTOR_MAX_RPM,
        MOTOR_MAX_COMMAND);

    int16_t command_b = Motor_PositionControl(
        target_b,
        actual_b,
        (float)motor_b.speed_rpm,
        MOTOR_ANGLE_KP,
        MOTOR_SPEED_KP,
        MOTOR_MAX_RPM,
        MOTOR_MAX_COMMAND);

    (void)Motor_SendCommands(command_a, command_b);
    return;
}

    // 刚进入联动，或切换比例时，从当前位置建立参考
    // 避免直接套用上一次模式留下的目标角度
    if (!link_started || motor_b_ratio != previous_ratio)
    {
        Link_ManualReset();
        reference_yaw = imu_yaw_deg;
        reference_a = actual_a;
        reference_b = actual_b;
        previous_ratio = motor_b_ratio;
        link_started = 1U;

        (void)Motor_SendCommands(0, 0);
        return;
    }

    uint8_t manual_source = Link_ManualStep(
    actual_a,
    actual_b,
    (float)motor_a.speed_rpm,
    (float)motor_b.speed_rpm,
    reference_a,
    reference_b,
    motor_b_ratio,
    &reference_yaw);
    float yaw_change = imu_yaw_deg - reference_yaw;

    float target_a = reference_a + yaw_change;
    float target_b = reference_b + motor_b_ratio * yaw_change;

    int16_t command_a = Motor_PositionControl(
        target_a,
        actual_a,
        (float)motor_a.speed_rpm,
        MOTOR_ANGLE_KP,
        MOTOR_SPEED_KP,
        MOTOR_MAX_RPM,
        MOTOR_MAX_COMMAND);

    int16_t command_b = Motor_PositionControl(
        target_b,
        actual_b,
        (float)motor_b.speed_rpm,
        MOTOR_ANGLE_KP,
        MOTOR_SPEED_KP,
        MOTOR_MAX_RPM,
        MOTOR_MAX_COMMAND);

        // 被手动转动的一台不执行位置回拉，另一台继续跟随
if (manual_source == 1U)
{
    command_a = 0;
}
else if (manual_source == 2U)
{
    command_b = 0;
}
    if (Motor_SendCommands(command_a, command_b) != HAL_OK)
    {
        // 本次发送未成功进入邮箱，下次重新建立参考
        link_started = 0U;
    }
}
/* USER CODE END 0 */

int main(void)
{

  /* MCU Configuration--------------------------------------------------------*/

  /* Reset of all peripherals, Initializes the Flash interface and the Systick. */
  HAL_Init();

  /* Configure the system clock */
  SystemClock_Config();

  /* Initialize all configured peripherals */
  MX_GPIO_Init();
  MX_DMA_Init();
  MX_TIM4_Init();
  MX_USART1_UART_Init();
  MX_USART3_UART_Init();
  MX_SPI1_Init();
  MX_CAN1_Init();
  /* USER CODE BEGIN 2 */
if (CAN1_StartReceive() != HAL_OK)
{
    Error_Handler();
}
if (HAL_CAN_ActivateNotification(
        &hcan1, CAN_IT_RX_FIFO0_MSG_PENDING) != HAL_OK)
{
    Error_Handler();
}
imu_ready = (BMI088_Init() == HAL_OK);
uint8_t led_index = 0;                 // 0 红，1 绿，2 蓝

LED_Show(led_index);                    // 上电先亮红灯
uint32_t led_last_tick = HAL_GetTick();  // 记录开始时间
// 蜂鸣器初始化并启动 PWM
if (HAL_TIM_PWM_Start(&htim4, TIM_CHANNEL_3) != HAL_OK)
{
    Error_Handler();
}

// 设置 50% 占空比，开始发声
__HAL_TIM_SET_COMPARE(&htim4, TIM_CHANNEL_3, 250);

uint32_t buzzer_start_tick = HAL_GetTick();
uint8_t buzzer_active = 1;
uint32_t uart_last_tick = HAL_GetTick();
uint32_t motor_last_tick = HAL_GetTick();
uint32_t imu_last_tick = HAL_GetTick();
uint8_t imu_sample_ok = 0;

// 首次启动接收；失败时交给主循环恢复
if (HAL_UARTEx_ReceiveToIdle_DMA(&huart3,
                               rc_rx_buf,
                               sizeof(rc_rx_buf)) == HAL_OK)
{
    __HAL_DMA_DISABLE_IT(huart3.hdmarx, DMA_IT_HT);
}
else
{
    rc_need_restart = 1;
}
  /* USER CODE END 2 */

  /* Infinite loop */
  while (1)
  {

    /* USER CODE BEGIN 3 */
    uint32_t now = HAL_GetTick();
    // 出错后清理当前接收，随后重新启动
if (rc_need_restart)
{
    rc_need_restart = 0;

    if (HAL_UART_AbortReceive(&huart3) != HAL_OK)
    {
        rc_need_restart = 1;
    }
}

// 正常接收时不会进入这里；也用于重试启动失败的情况
if (!rc_need_restart)
{
    uint32_t irq_state = __get_PRIMASK();
    __disable_irq();

    if (huart3.RxState == HAL_UART_STATE_READY)
    {
        if (HAL_UARTEx_ReceiveToIdle_DMA(
                &huart3, rc_rx_buf, sizeof(rc_rx_buf)) == HAL_OK)
        {
            __HAL_DMA_DISABLE_IT(huart3.hdmarx, DMA_IT_HT);
        }
    }

    __set_PRIMASK(irq_state);
}

// LED：每隔 300 毫秒换一个灯
if ((uint32_t)(now - led_last_tick) >= 300U)
{
    led_last_tick = now;

    led_index++;
    if (led_index >= 3U)
    {
        led_index = 0;
    }

    LED_Show(led_index);
}

// 蜂鸣器：启动响约 200 毫秒后静音
if (buzzer_active &&
    (uint32_t)(now - buzzer_start_tick) >= 200U)
{
    __HAL_TIM_SET_COMPARE(&htim4, TIM_CHANNEL_3, 0);
    buzzer_active = 0;
}
// IMU：每隔约 10 ms 采样、校准并更新姿态
uint32_t imu_now = HAL_GetTick();

if ((uint32_t)(imu_now - imu_last_tick) >= 10U)
{
    // 根据实际采样间隔计算 dt，单位秒
    float imu_dt =
        (float)(uint32_t)(imu_now - imu_last_tick) * 0.001f;

    imu_last_tick = imu_now;
    imu_sample_ok = 0U;

    if (imu_ready)
    {
        imu_sample_ok = (BMI088_ReadData() == HAL_OK);
    }

    IMU_UpdateGyroCalibration(imu_sample_ok);
    IMU_UpdateAttitude(imu_sample_ok, imu_dt);
}
Control_UpdateRequest();
// 每隔约 10 ms 执行一次电机控制
uint32_t motor_now = HAL_GetTick();

if ((uint32_t)(motor_now - motor_last_tick) >= 10U)
{
    motor_last_tick = motor_now;
    Motor_ControlTick();
}
// 每隔约 100 ms 发送最新的 IMU、遥控器和电机状态
if ((uint32_t)(HAL_GetTick() - uart_last_tick) >= 100U &&
    huart1.gState == HAL_UART_STATE_READY)
{
    uart_last_tick = HAL_GetTick();

// 使用独立采样任务的最新读取结果
uint8_t imu_read_ok = imu_sample_ok;
    // 复制遥控器数据
    int16_t ch[4];
    uint8_t s1, s2, received;
    uint32_t last_tick;

    uint32_t irq_state = __get_PRIMASK();
    __disable_irq();

    for (uint8_t i = 0; i < 4U; i++)
    {
        ch[i] = rc_ch[i];
    }

    s1 = rc_s1;
    s2 = rc_s2;
    received = rc_received;
    last_tick = rc_last_tick;

    __set_PRIMASK(irq_state);

    uint8_t online = received &&
        (uint32_t)(HAL_GetTick() - last_tick) < 100U;

    // 断联时不显示旧的遥控器数值
    if (!online)
    {
        for (uint8_t i = 0; i < 4U; i++)
        {
            ch[i] = 0;
        }

        s1 = 0;
        s2 = 0;
    }

    int len;
    const char *att_state =
    imu_attitude_fault ? "ERR" :
    (imu_attitude_ready ? "OK" : "CAL");

int32_t yaw_mdeg = (int32_t)(imu_yaw_deg * 1000.0f);

    if (imu_read_ok)
    {
        // 乘 1000 后按整数输出，避免依赖 printf 浮点支持
        int32_t ax = (int32_t)(imu_ax * 1000.0f);
        int32_t ay = (int32_t)(imu_ay * 1000.0f);
        int32_t az = (int32_t)(imu_az * 1000.0f);

        int32_t gx = (int32_t)(imu_gx * 1000.0f);
        int32_t gy = (int32_t)(imu_gy * 1000.0f);
        int32_t gz = (int32_t)(imu_gz * 1000.0f);

        len = snprintf(
            uart_tx_buf, sizeof(uart_tx_buf),
           "ATT=%s YAW[mdeg]=%ld CAL=%u/200 "
           "ACC[mm/s2]=%ld,%ld,%ld GYR[mdeg/s]=%ld,%ld,%ld "
           "RC=%s CH=%d,%d,%d,%d SW=%u,%u\r\n",
           att_state,
           (long)yaw_mdeg,
           (unsigned)imu_cal_count,
            (long)ax, (long)ay, (long)az,
            (long)gx, (long)gy, (long)gz,
            online ? "ON" : "OFF",
            (int)ch[0], (int)ch[1], (int)ch[2], (int)ch[3],
            (unsigned)s1, (unsigned)s2);
    }
    else
    {
        len = snprintf(
            uart_tx_buf, sizeof(uart_tx_buf),
            "IMU=ERROR RC=%s CH=%d,%d,%d,%d SW=%u,%u\r\n",
            online ? "ON" : "OFF",
            (int)ch[0], (int)ch[1], (int)ch[2], (int)ch[3],
            (unsigned)s1, (unsigned)s2);
    }

    if (len > 0 && (size_t)len < sizeof(uart_tx_buf))
{
    size_t used = (size_t)len;
    uint8_t format_ok = 1U;

    // 暂时显示全部 7 个可能的 ID，便于现场确认电机编号
    for (uint8_t id = 1; id <= 7U; id++)
    {
        MotorFeedback fb;

        // 短暂关闭中断，取得同一帧的完整反馈
        uint32_t saved_irq = __get_PRIMASK();
        __disable_irq();
        fb = motor_fb[id];
        __set_PRIMASK(saved_irq);

        uint8_t motor_online =
            fb.received &&
            (uint32_t)(HAL_GetTick() - fb.last_rx_tick) < 100U;

        int added;

        if (motor_online)
{
    added = snprintf(
        uart_tx_buf + used,
        sizeof(uart_tx_buf) - used,
        "M%u=ON ENC=%u POS=%s CNT=%ld RPM=%d T=%u N=%lu\r\n",
        (unsigned)id,
        (unsigned)fb.encoder,
        fb.angle_valid ? "OK" : "ERR",
        (long)fb.total_encoder,
        (int)fb.speed_rpm,
        (unsigned)fb.temperature,
        (unsigned long)fb.rx_count);
}
        else
        {
            // 离线时不把旧角度和转速当成当前数据输出
            added = snprintf(
                uart_tx_buf + used,
                sizeof(uart_tx_buf) - used,
                "M%u=OFF N=%lu\r\n",
                (unsigned)id,
                (unsigned long)fb.rx_count);
        }

        // 检查格式化错误和缓冲区不足
        if (added < 0 ||
            (size_t)added >= sizeof(uart_tx_buf) - used)
        {
            format_ok = 0U;
            break;
        }

        used += (size_t)added;
    }

    // IMU、遥控器、电机数据合并后只发送一次
    if (format_ok)
    {
        HAL_UART_Transmit_IT(
            &huart1,
            (uint8_t *)uart_tx_buf,
            (uint16_t)used);
    }
}
}
  }

  /* USER CODE END 3 */
}

void SystemClock_Config(void)
{
  RCC_OscInitTypeDef RCC_OscInitStruct = {0};
  RCC_ClkInitTypeDef RCC_ClkInitStruct = {0};

  /** Configure the main internal regulator output voltage
  */
  __HAL_RCC_PWR_CLK_ENABLE();
  __HAL_PWR_VOLTAGESCALING_CONFIG(PWR_REGULATOR_VOLTAGE_SCALE1);

  /** Initializes the RCC Oscillators according to the specified parameters
  * in the RCC_OscInitTypeDef structure.
  */
  RCC_OscInitStruct.OscillatorType = RCC_OSCILLATORTYPE_HSE;
  RCC_OscInitStruct.HSEState = RCC_HSE_ON;
  RCC_OscInitStruct.PLL.PLLState = RCC_PLL_ON;
  RCC_OscInitStruct.PLL.PLLSource = RCC_PLLSOURCE_HSE;
  RCC_OscInitStruct.PLL.PLLM = 6;
  RCC_OscInitStruct.PLL.PLLN = 168;
  RCC_OscInitStruct.PLL.PLLP = RCC_PLLP_DIV2;
  RCC_OscInitStruct.PLL.PLLQ = 4;
  if (HAL_RCC_OscConfig(&RCC_OscInitStruct) != HAL_OK)
  {
    Error_Handler();
  }

  /** Initializes the CPU, AHB and APB buses clocks
  */
  RCC_ClkInitStruct.ClockType = RCC_CLOCKTYPE_HCLK|RCC_CLOCKTYPE_SYSCLK
                              |RCC_CLOCKTYPE_PCLK1|RCC_CLOCKTYPE_PCLK2;
  RCC_ClkInitStruct.SYSCLKSource = RCC_SYSCLKSOURCE_PLLCLK;
  RCC_ClkInitStruct.AHBCLKDivider = RCC_SYSCLK_DIV1;
  RCC_ClkInitStruct.APB1CLKDivider = RCC_HCLK_DIV4;
  RCC_ClkInitStruct.APB2CLKDivider = RCC_HCLK_DIV2;

  if (HAL_RCC_ClockConfig(&RCC_ClkInitStruct, FLASH_LATENCY_5) != HAL_OK)
  {
    Error_Handler();
  }
}

/* USER CODE BEGIN 4 */
void HAL_UARTEx_RxEventCallback(UART_HandleTypeDef *huart,
                               uint16_t Size)
{
    // 只处理遥控器使用的 USART3
    if (huart->Instance == USART3)
    {
        // 忽略半缓冲区事件
        if (HAL_UARTEx_GetRxEventType(huart) == HAL_UART_RXEVENT_HT)
        {
            return;
        }

        rc_rx_size = Size;
        rc_rx_count++;

        // 添加遥控器数据解析，
        // 只解析在空闲事件结束时收到的完整 18 字节帧
if (HAL_UARTEx_GetRxEventType(huart) == HAL_UART_RXEVENT_IDLE &&
    Size == 18U)
{
    int16_t ch[4];
    uint8_t s1;
    uint8_t s2;

    ch[0] = (int16_t)(
        (rc_rx_buf[0] | (rc_rx_buf[1] << 8)) & 0x07FF);

    ch[1] = (int16_t)(
        ((rc_rx_buf[1] >> 3) | (rc_rx_buf[2] << 5)) & 0x07FF);

    ch[2] = (int16_t)(
        ((rc_rx_buf[2] >> 6) | (rc_rx_buf[3] << 2) |
         (rc_rx_buf[4] << 10)) & 0x07FF);

    ch[3] = (int16_t)(
        ((rc_rx_buf[4] >> 1) | (rc_rx_buf[5] << 7)) & 0x07FF);

    s1 = (rc_rx_buf[5] >> 6) & 0x03;
    s2 = (rc_rx_buf[5] >> 4) & 0x03;

    // 原始中心值为 1024，减去后回中值接近 0
    uint8_t valid = 1;

    for (uint8_t i = 0; i < 4U; i++)
    {
        ch[i] -= 1024;

        // 正常范围约为 -660～660，留少量余量
        if (ch[i] < -700 || ch[i] > 700)
        {
            valid = 0;
        }
    }

    // 拨杆的有效编码为 1、2、3
    if (s1 == 0U || s2 == 0U)
    {
        valid = 0;
    }

    // 通过检查后，才更新供主循环使用的数据
    if (valid)
    {
        for (uint8_t i = 0; i < 4U; i++)
        {
            rc_ch[i] = ch[i];
        }

        rc_s1 = s1;
        rc_s2 = s2;
        rc_last_tick = HAL_GetTick();
        rc_received = 1;
    }
}

        // 必须在重新启动接收之前处理当前数据。

        // Normal 模式接收结束后，需要重新启动
        if (HAL_UARTEx_ReceiveToIdle_DMA(&huart3,
                                       rc_rx_buf,
                                       sizeof(rc_rx_buf)) == HAL_OK)
        {
            __HAL_DMA_DISABLE_IT(huart3.hdmarx, DMA_IT_HT);
        }
    }
}
void HAL_UART_ErrorCallback(UART_HandleTypeDef *huart)
{
    if (huart->Instance == USART3)
    {
        // 当前接收状态不再可信
        rc_received = 0;

        // 通知主循环恢复接收
        rc_need_restart = 1;
    }
}
void HAL_CAN_RxFifo0MsgPendingCallback(CAN_HandleTypeDef *hcan)
{
    if (hcan->Instance != CAN1)
    {
        return;
    }

    CAN_RxHeaderTypeDef header;
    uint8_t data[8];

    // 每次中断最多取出 3 帧，避免长时间占用中断
    for (uint8_t n = 0; n < 3U; n++)
    {
        if (HAL_CAN_GetRxFifoFillLevel(hcan, CAN_RX_FIFO0) == 0U)
        {
            break;
        }

        if (HAL_CAN_GetRxMessage(hcan, CAN_RX_FIFO0,
                                &header, data) != HAL_OK)
        {
            break;
        }

        // 只解析 GM6020 的标准数据帧
        if (header.IDE != CAN_ID_STD ||
            header.RTR != CAN_RTR_DATA ||
            header.DLC != 8U ||
            header.StdId < 0x205U ||
            header.StdId > 0x20BU)
        {
            continue;
        }

        uint8_t id = (uint8_t)(header.StdId - 0x204U);
        uint16_t encoder =
            (uint16_t)(((uint16_t)data[0] << 8) | data[1]);

        if (encoder > 8191U)
        {
            continue;
        }

        uint32_t rx_now = HAL_GetTick();

if (!motor_fb[id].received)
{
    // 首次收到反馈：把当前位置作为累计角度零点
    motor_fb[id].total_encoder = 0;
    motor_fb[id].angle_valid = 1U;
}
else if ((uint32_t)(rx_now - motor_fb[id].last_rx_tick) >= 50U)
{
    // 中断接收期间可能转过未知圈数，不能继续猜测累计角度
    motor_fb[id].angle_valid = 0U;
}
else if (motor_fb[id].angle_valid)
{
    int32_t delta =
        (int32_t)encoder - (int32_t)motor_fb[id].encoder;

    // 处理单圈编码器边界
    if (delta > 4096)
    {
        delta -= 8192;
    }
    else if (delta < -4096)
    {
        delta += 8192;
    }

    motor_fb[id].total_encoder += delta;
}

motor_fb[id].encoder = encoder;
        motor_fb[id].speed_rpm =
            (int16_t)(((uint16_t)data[2] << 8) | data[3]);
        motor_fb[id].temperature = data[6];
        motor_fb[id].last_rx_tick = rx_now;
        motor_fb[id].rx_count++;
        motor_fb[id].received = 1U;
    }
}
/* USER CODE END 4 */

void Error_Handler(void)
{
  __disable_irq();
  while (1)
  {
  }
}
